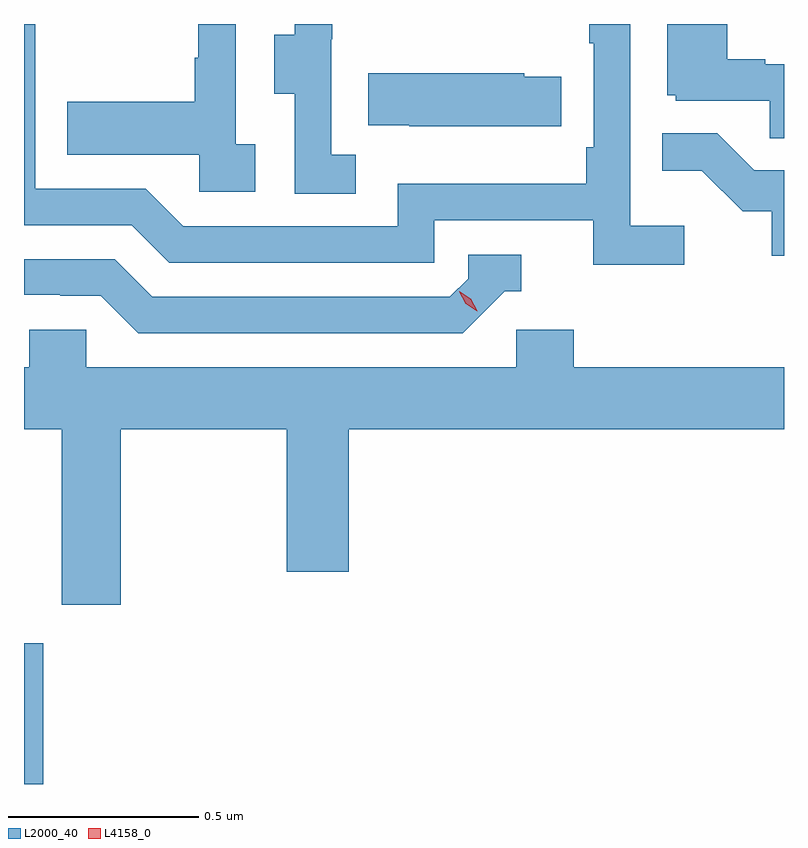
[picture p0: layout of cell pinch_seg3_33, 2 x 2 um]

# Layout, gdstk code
import gdstk
lib = gdstk.Library(unit=1e-6, precision=1e-09)
def R(c, l, rs):  # rectangles x0, y0, x1, y1
    for r in rs: c.add(gdstk.rectangle(r[:2], r[2:], *l))
def P(c, l, *ps):  # polygons
    for p in ps: c.add(gdstk.Polygon(p, *l))
L2000_40 = (2000, 40)
L4158_0 = (4158, 0)

pinch_seg3_33 = lib.new_cell('pinch_seg3_33')
R(pinch_seg3_33, L2000_40, [(1111.369,731.951,1111.42,732.322)])
P(pinch_seg3_33, L2000_40, [(1113.106,733.42),(1112.964,733.42),(1112.964,733.951),(1112.856,733.951),(1112.856,733.9),(1112.868,733.9),(1112.868,733.627),(1112.848,733.627),(1112.848,733.531),(1112.352,733.531),(1112.352,733.419),(1111.788,733.419),(1111.689,733.518),(1111.398,733.518),(1111.398,733.951),(1111.369,733.951),(1111.369,733.422),(1111.652,733.422),(1111.751,733.323),(1112.448,733.323),(1112.448,733.434),(1112.867,733.434),(1112.867,733.318),(1113.106,733.318)],
  [(1111.978,733.634),(1111.926,733.634),(1111.926,733.951),(1111.828,733.951),(1111.828,733.862),(1111.818,733.862),(1111.818,733.747),(1111.483,733.747),(1111.483,733.607),(1111.83,733.607),(1111.83,733.509),(1111.978,733.509)],
  [(1112.242,733.607),(1112.178,733.607),(1112.178,733.911),(1112.18,733.911),(1112.18,733.951),(1112.081,733.951),(1112.081,733.923),(1112.027,733.923),(1112.027,733.768),(1112.082,733.768),(1112.082,733.504),(1112.242,733.504)],
  [(1113.369,733.845),(1113.32,733.845),(1113.32,733.858),(1113.22,733.858),(1113.22,733.951),(1113.062,733.951),(1113.062,733.764),(1113.084,733.764),(1113.084,733.749),(1113.331,733.749),(1113.331,733.651),(1113.369,733.651)],
  [(1112.783,733.812),(1112.685,733.812),(1112.685,733.822),(1112.275,733.822),(1112.275,733.685),(1112.383,733.685),(1112.383,733.682),(1112.783,733.682)],
  [(1113.369,733.566),(1113.291,733.566),(1113.193,733.664),(1113.049,733.664),(1113.049,733.565),(1113.153,733.565),(1113.26,733.458),(1113.337,733.458),(1113.337,733.341),(1113.369,733.341)],
  [(1112.634,733.248),(1112.677,733.248),(1112.677,733.344),(1112.538,733.344),(1112.538,733.281),(1112.49,733.233),(1111.707,733.233),(1111.608,733.332),(1111.369,733.332),(1111.369,733.239),(1111.464,733.239),(1111.464,733.236),(1111.571,733.236),(1111.67,733.137),(1112.523,733.137)],
  [(1111.623,732.884),(1112.06,732.884),(1112.06,732.51),(1112.224,732.51),(1112.224,732.884),(1113.369,732.884),(1113.369,733.048),(1112.816,733.048),(1112.816,733.146),(1112.664,733.146),(1112.664,733.048),(1111.533,733.048),(1111.533,733.146),(1111.383,733.146),(1111.383,733.048),(1111.369,733.048),(1111.369,732.884),(1111.468,732.884),(1111.468,732.423),(1111.623,732.423)])
P(pinch_seg3_33, L4158_0, [(1112.562,733.195),(1112.531,733.215),(1112.514,733.247),(1112.514,733.248),(1112.515,733.248),(1112.545,733.228),(1112.562,733.196),(1112.562,733.195)])

lib.write_gds('pinch_seg3_33.gds')
